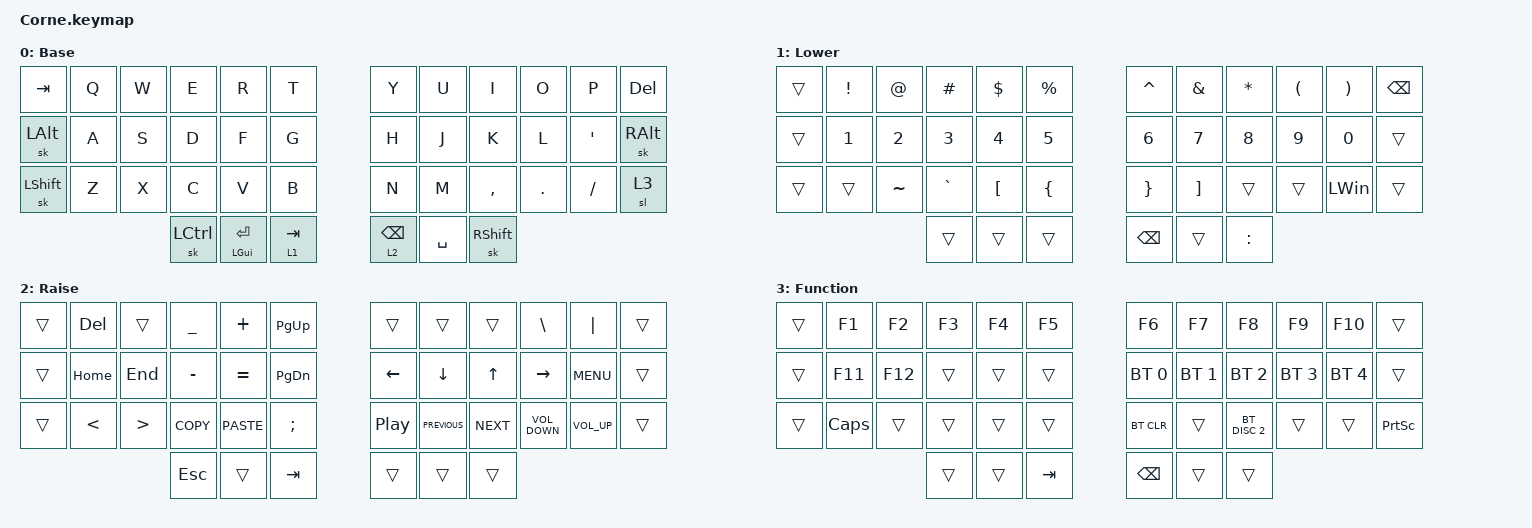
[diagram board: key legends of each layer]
/*
 * Copyright (c) 2020 The ZMK Contributors
 *
 * SPDX-License-Identifier: MIT
 */

#include <behaviors.dtsi>
#include <dt-bindings/zmk/keys.h>
#include <dt-bindings/zmk/bt.h>

/ {
        combos {
            compatible = "zmk,combos";

            jk_escape {
                timeout-ms = <35>;
                key-positions = <19 20>;
                bindings = <&kp ESC>;
                layers = <0>;
            };
        };

        keymap {
                compatible = "zmk,keymap";

                default_layer {
                        display-name = "Base";
                        bindings = <
                            &kp TAB      &kp Q       &kp W       &kp E       &kp R       &kp T       &kp Y       &kp U       &kp I       &kp O       &kp P              &kp DELETE
                            &sk LALT     &kp A       &kp S       &kp D       &kp F       &kp G       &kp H       &kp J       &kp K       &kp L       &kp SINGLE_QUOTE   &sk RIGHT_ALT
                            &sk LSHFT    &kp Z       &kp X       &kp C       &kp V       &kp B       &kp N       &kp M       &kp COMMA   &kp DOT     &kp FSLH           &sl 3
                                                                &sk LCTRL    &mt LEFT_GUI ENTER      &lt 1 TAB   &lt 2 BACKSPACE       &kp SPACE   &sk RIGHT_SHIFT
                        >;

                };

                lower_layer {
                        display-name = "Lower";
                        bindings = <
                            &trans       &kp EXCLAMATION &kp AT_SIGN   &kp POUND     &kp DOLLAR    &kp PERCENT   &kp CARET      &kp AMPERSAND &kp ASTERISK  &kp LEFT_PARENTHESIS  &kp RIGHT_PARENTHESIS &kp BSPC
                            &trans       &kp NUMBER_1     &kp NUMBER_2  &kp NUMBER_3  &kp NUMBER_4  &kp NUMBER_5  &kp NUMBER_6   &kp NUMBER_7  &kp NUMBER_8 &kp NUMBER_9          &kp NUMBER_0           &trans
                            &trans       &trans           &kp TILDE     &kp GRAVE     &kp LEFT_BRACKET &kp LEFT_BRACE &kp RIGHT_BRACE &kp RIGHT_BRACKET &trans &trans               &kp LEFT_WIN           &trans
                                                                &trans       &trans                  &trans       &kp BACKSPACE            &trans       &kp COLON
                        >;
                };

                raise_layer {
                        display-name = "Raise";
                        bindings = <
                            &trans       &kp DELETE      &trans          &kp UNDERSCORE &kp PLUS       &kp PAGE_UP    &trans       &trans        &trans        &kp BACKSLASH    &kp PIPE          &trans
                            &trans       &kp HOME        &kp END         &kp MINUS      &kp EQUAL      &kp PAGE_DOWN  &kp LEFT     &kp DOWN      &kp UP_ARROW  &kp RIGHT        &kp K_MENU        &trans
                            &trans       &kp LESS_THAN   &kp GREATER_THAN &kp K_COPY    &kp K_PASTE    &kp SEMICOLON  &kp C_PLAY_PAUSE &kp C_PREVIOUS &kp C_NEXT &kp C_VOLUME_DOWN &kp C_VOLUME_UP &trans
                                                                &kp ESCAPE   &trans                 &kp TAB       &trans                    &trans       &trans
                        >;
                };

                function_layer {
                display-name = "Function";
                        bindings = <
                            &trans       &kp F1          &kp F2          &kp F3          &kp F4          &kp F5          &kp F6          &kp F7          &kp F8          &kp F9          &kp F10         &trans
                            &trans       &kp F11         &kp F12         &trans          &trans          &trans          &bt BT_SEL 0    &bt BT_SEL 1    &bt BT_SEL 2    &bt BT_SEL 3    &bt BT_SEL 4    &trans
                            &trans       &kp CAPS        &trans          &trans          &trans          &trans          &bt BT_CLR      &trans           &bt BT_DISC 2   &trans          &trans         &kp PRINTSCREEN
                                                                &trans       &trans                  &kp TAB       &kp BACKSPACE            &trans       &trans
                        >;
                };

                extra1 { status = "reserved"; };
                
                extra2 { status = "reserved"; };
                
                extra3 { status = "reserved"; };
                
                extra4 { status = "reserved"; };
                
                extra5 { status = "reserved"; };
        };
};
